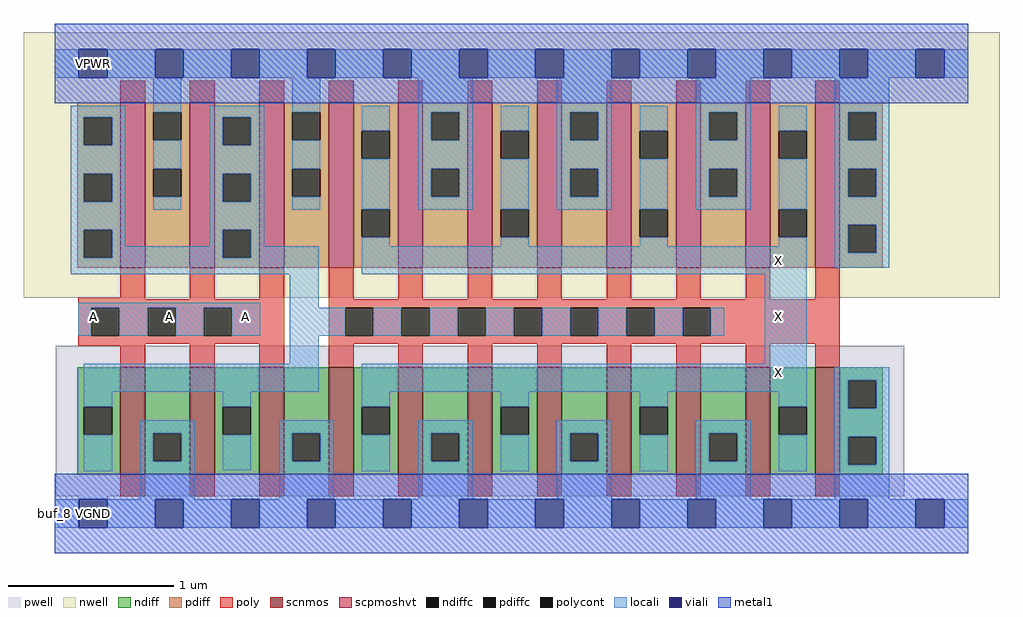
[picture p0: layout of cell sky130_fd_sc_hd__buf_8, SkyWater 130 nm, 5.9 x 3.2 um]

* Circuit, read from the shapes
.subckt sky130_fd_sc_hd__buf_8 VNB VPB VGND VPWR A X
XM1 VGND A n1 VNB sky130_fd_pr__nfet_01v8 w=0.65 l=0.15 m=3
XM2 X n1 VGND VNB sky130_fd_pr__nfet_01v8 w=0.65 l=0.15 m=8
XM3 VPWR A n1 VPB sky130_fd_pr__pfet_01v8_hvt w=1 l=0.15 m=3
XM4 X n1 VPWR VPB sky130_fd_pr__pfet_01v8_hvt w=1 l=0.15 m=8
.ends

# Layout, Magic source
magic
tech sky130A
magscale 1 2
<< nwell >>
rect 0 309 1180 630
<< pwell >>
rect 39 69 1065 251
rect 68 31 102 69
<< scnmos >>
rect 117 95 147 225
rect 201 95 231 225
rect 285 95 315 225
rect 369 95 399 225
rect 453 95 483 225
rect 537 95 567 225
rect 621 95 651 225
rect 705 95 735 225
rect 789 95 819 225
rect 873 95 903 225
rect 957 95 987 225
<< scpmoshvt >>
rect 117 345 147 545
rect 201 345 231 545
rect 285 345 315 545
rect 369 345 399 545
rect 453 345 483 545
rect 537 345 567 545
rect 621 345 651 545
rect 705 345 735 545
rect 789 345 819 545
rect 873 345 903 545
rect 957 345 987 545
<< ndiff >>
rect 65 177 117 225
rect 65 143 73 177
rect 107 143 117 177
rect 65 95 117 143
rect 147 145 201 225
rect 147 111 157 145
rect 191 111 201 145
rect 147 95 201 111
rect 231 177 285 225
rect 231 143 241 177
rect 275 143 285 177
rect 231 95 285 143
rect 315 145 369 225
rect 315 111 325 145
rect 359 111 369 145
rect 315 95 369 111
rect 399 177 453 225
rect 399 143 409 177
rect 443 143 453 177
rect 399 95 453 143
rect 483 145 537 225
rect 483 111 493 145
rect 527 111 537 145
rect 483 95 537 111
rect 567 177 621 225
rect 567 143 577 177
rect 611 143 621 177
rect 567 95 621 143
rect 651 145 705 225
rect 651 111 661 145
rect 695 111 705 145
rect 651 95 705 111
rect 735 177 789 225
rect 735 143 745 177
rect 779 143 789 177
rect 735 95 789 143
rect 819 145 873 225
rect 819 111 829 145
rect 863 111 873 145
rect 819 95 873 111
rect 903 177 957 225
rect 903 143 913 177
rect 947 143 957 177
rect 903 95 957 143
rect 987 209 1039 225
rect 987 175 997 209
rect 1031 175 1039 209
rect 987 141 1039 175
rect 987 107 997 141
rect 1031 107 1039 141
rect 987 95 1039 107
<< pdiff >>
rect 65 527 117 545
rect 65 493 73 527
rect 107 493 117 527
rect 65 459 117 493
rect 65 425 73 459
rect 107 425 117 459
rect 65 391 117 425
rect 65 357 73 391
rect 107 357 117 391
rect 65 345 117 357
rect 147 533 201 545
rect 147 499 157 533
rect 191 499 201 533
rect 147 465 201 499
rect 147 431 157 465
rect 191 431 201 465
rect 147 345 201 431
rect 231 527 285 545
rect 231 493 241 527
rect 275 493 285 527
rect 231 459 285 493
rect 231 425 241 459
rect 275 425 285 459
rect 231 391 285 425
rect 231 357 241 391
rect 275 357 285 391
rect 231 345 285 357
rect 315 533 369 545
rect 315 499 325 533
rect 359 499 369 533
rect 315 465 369 499
rect 315 431 325 465
rect 359 431 369 465
rect 315 345 369 431
rect 399 511 453 545
rect 399 477 409 511
rect 443 477 453 511
rect 399 416 453 477
rect 399 382 409 416
rect 443 382 453 416
rect 399 345 453 382
rect 483 533 537 545
rect 483 499 493 533
rect 527 499 537 533
rect 483 465 537 499
rect 483 431 493 465
rect 527 431 537 465
rect 483 345 537 431
rect 567 511 621 545
rect 567 477 577 511
rect 611 477 621 511
rect 567 416 621 477
rect 567 382 577 416
rect 611 382 621 416
rect 567 345 621 382
rect 651 533 705 545
rect 651 499 661 533
rect 695 499 705 533
rect 651 465 705 499
rect 651 431 661 465
rect 695 431 705 465
rect 651 345 705 431
rect 735 511 789 545
rect 735 477 745 511
rect 779 477 789 511
rect 735 416 789 477
rect 735 382 745 416
rect 779 382 789 416
rect 735 345 789 382
rect 819 533 873 545
rect 819 499 829 533
rect 863 499 873 533
rect 819 465 873 499
rect 819 431 829 465
rect 863 431 873 465
rect 819 345 873 431
rect 903 511 957 545
rect 903 477 913 511
rect 947 477 957 511
rect 903 416 957 477
rect 903 382 913 416
rect 947 382 957 416
rect 903 345 957 382
rect 987 533 1039 545
rect 987 499 997 533
rect 1031 499 1039 533
rect 987 465 1039 499
rect 987 431 997 465
rect 1031 431 1039 465
rect 987 397 1039 431
rect 987 363 997 397
rect 1031 363 1039 397
rect 987 345 1039 363
<< ndiffc >>
rect 73 143 107 177
rect 157 111 191 145
rect 241 143 275 177
rect 325 111 359 145
rect 409 143 443 177
rect 493 111 527 145
rect 577 143 611 177
rect 661 111 695 145
rect 745 143 779 177
rect 829 111 863 145
rect 913 143 947 177
rect 997 175 1031 209
rect 997 107 1031 141
<< pdiffc >>
rect 73 493 107 527
rect 73 425 107 459
rect 73 357 107 391
rect 157 499 191 533
rect 157 431 191 465
rect 241 493 275 527
rect 241 425 275 459
rect 241 357 275 391
rect 325 499 359 533
rect 325 431 359 465
rect 409 477 443 511
rect 409 382 443 416
rect 493 499 527 533
rect 493 431 527 465
rect 577 477 611 511
rect 577 382 611 416
rect 661 499 695 533
rect 661 431 695 465
rect 745 477 779 511
rect 745 382 779 416
rect 829 499 863 533
rect 829 431 863 465
rect 913 477 947 511
rect 913 382 947 416
rect 997 499 1031 533
rect 997 431 1031 465
rect 997 363 1031 397
<< poly >>
rect 117 545 147 571
rect 201 545 231 571
rect 285 545 315 571
rect 369 545 399 571
rect 453 545 483 571
rect 537 545 567 571
rect 621 545 651 571
rect 705 545 735 571
rect 789 545 819 571
rect 873 545 903 571
rect 957 545 987 571
rect 117 309 147 345
rect 66 307 147 309
rect 201 307 231 345
rect 285 307 315 345
rect 66 297 315 307
rect 66 263 82 297
rect 116 263 150 297
rect 184 263 218 297
rect 252 263 315 297
rect 66 253 315 263
rect 66 251 147 253
rect 117 225 147 251
rect 201 225 231 253
rect 285 225 315 253
rect 369 307 399 345
rect 453 307 483 345
rect 537 307 567 345
rect 621 307 651 345
rect 705 307 735 345
rect 789 307 819 345
rect 873 307 903 345
rect 957 307 987 345
rect 369 297 987 307
rect 369 263 389 297
rect 423 263 457 297
rect 491 263 525 297
rect 559 263 593 297
rect 627 263 661 297
rect 695 263 729 297
rect 763 263 797 297
rect 831 263 987 297
rect 369 253 987 263
rect 369 225 399 253
rect 453 225 483 253
rect 537 225 567 253
rect 621 225 651 253
rect 705 225 735 253
rect 789 225 819 253
rect 873 225 903 253
rect 957 225 987 253
rect 117 69 147 95
rect 201 69 231 95
rect 285 69 315 95
rect 369 69 399 95
rect 453 69 483 95
rect 537 69 567 95
rect 621 69 651 95
rect 705 69 735 95
rect 789 69 819 95
rect 873 69 903 95
rect 957 69 987 95
<< polycont >>
rect 82 263 116 297
rect 150 263 184 297
rect 218 263 252 297
rect 389 263 423 297
rect 457 263 491 297
rect 525 263 559 297
rect 593 263 627 297
rect 661 263 695 297
rect 729 263 763 297
rect 797 263 831 297
<< locali >>
rect 38 575 67 609
rect 101 575 159 609
rect 193 575 251 609
rect 285 575 343 609
rect 377 575 435 609
rect 469 575 527 609
rect 561 575 619 609
rect 653 575 711 609
rect 745 575 803 609
rect 837 575 895 609
rect 929 575 987 609
rect 1021 575 1079 609
rect 1113 575 1142 609
rect 57 527 123 541
rect 57 493 73 527
rect 107 493 123 527
rect 57 459 123 493
rect 57 425 73 459
rect 107 425 123 459
rect 57 391 123 425
rect 157 533 191 575
rect 157 465 191 499
rect 157 415 191 431
rect 225 527 291 541
rect 225 493 241 527
rect 275 493 291 527
rect 225 459 291 493
rect 225 425 241 459
rect 275 425 291 459
rect 57 357 73 391
rect 107 371 123 391
rect 225 391 291 425
rect 325 533 359 575
rect 325 465 359 499
rect 325 415 359 431
rect 409 511 443 541
rect 409 416 443 477
rect 225 371 241 391
rect 107 357 241 371
rect 275 371 291 391
rect 477 533 543 575
rect 477 499 493 533
rect 527 499 543 533
rect 477 465 543 499
rect 477 431 493 465
rect 527 431 543 465
rect 477 415 543 431
rect 577 511 611 541
rect 577 416 611 477
rect 409 371 443 382
rect 645 533 711 575
rect 645 499 661 533
rect 695 499 711 533
rect 645 465 711 499
rect 645 431 661 465
rect 695 431 711 465
rect 645 415 711 431
rect 745 511 779 541
rect 745 416 779 477
rect 577 371 611 382
rect 813 533 879 575
rect 813 499 829 533
rect 863 499 879 533
rect 813 465 879 499
rect 813 431 829 465
rect 863 431 879 465
rect 813 415 879 431
rect 913 511 947 541
rect 913 416 947 477
rect 745 371 779 382
rect 913 371 947 382
rect 275 357 357 371
rect 57 337 357 357
rect 409 337 947 371
rect 981 533 1047 575
rect 981 499 997 533
rect 1031 499 1047 533
rect 981 465 1047 499
rect 981 431 997 465
rect 1031 431 1047 465
rect 981 397 1047 431
rect 981 363 997 397
rect 1031 363 1047 397
rect 981 345 1047 363
rect 66 297 286 303
rect 66 263 82 297
rect 116 263 150 297
rect 184 263 218 297
rect 252 263 286 297
rect 322 297 357 337
rect 322 263 389 297
rect 423 263 457 297
rect 491 263 525 297
rect 559 263 593 297
rect 627 263 661 297
rect 695 263 729 297
rect 763 263 797 297
rect 831 263 847 297
rect 322 229 357 263
rect 896 229 947 337
rect 73 195 357 229
rect 409 195 947 229
rect 73 177 107 195
rect 241 177 275 195
rect 73 99 107 143
rect 141 145 207 161
rect 141 111 157 145
rect 191 111 207 145
rect 141 65 207 111
rect 409 177 443 195
rect 241 100 275 143
rect 309 145 375 161
rect 309 111 325 145
rect 359 111 375 145
rect 309 65 375 111
rect 577 177 611 195
rect 409 99 443 143
rect 477 145 543 161
rect 477 111 493 145
rect 527 111 543 145
rect 477 65 543 111
rect 745 177 779 195
rect 577 99 611 143
rect 645 145 711 161
rect 645 111 661 145
rect 695 111 711 145
rect 645 65 711 111
rect 913 177 947 195
rect 745 99 779 143
rect 813 145 879 161
rect 813 111 829 145
rect 863 111 879 145
rect 813 65 879 111
rect 913 99 947 143
rect 981 209 1047 225
rect 981 175 997 209
rect 1031 175 1047 209
rect 981 141 1047 175
rect 981 107 997 141
rect 1031 107 1047 141
rect 981 65 1047 107
rect 38 31 67 65
rect 101 31 159 65
rect 193 31 251 65
rect 285 31 343 65
rect 377 31 435 65
rect 469 31 527 65
rect 561 31 619 65
rect 653 31 711 65
rect 745 31 803 65
rect 837 31 895 65
rect 929 31 987 65
rect 1021 31 1079 65
rect 1113 31 1142 65
<< viali >>
rect 67 575 101 609
rect 159 575 193 609
rect 251 575 285 609
rect 343 575 377 609
rect 435 575 469 609
rect 527 575 561 609
rect 619 575 653 609
rect 711 575 745 609
rect 803 575 837 609
rect 895 575 929 609
rect 987 575 1021 609
rect 1079 575 1113 609
rect 67 31 101 65
rect 159 31 193 65
rect 251 31 285 65
rect 343 31 377 65
rect 435 31 469 65
rect 527 31 561 65
rect 619 31 653 65
rect 711 31 745 65
rect 803 31 837 65
rect 895 31 929 65
rect 987 31 1021 65
rect 1079 31 1113 65
<< metal1 >>
rect 38 609 1142 640
rect 38 575 67 609
rect 101 575 159 609
rect 193 575 251 609
rect 285 575 343 609
rect 377 575 435 609
rect 469 575 527 609
rect 561 575 619 609
rect 653 575 711 609
rect 745 575 803 609
rect 837 575 895 609
rect 929 575 987 609
rect 1021 575 1079 609
rect 1113 575 1142 609
rect 38 544 1142 575
rect 38 65 1142 96
rect 38 31 67 65
rect 101 31 159 65
rect 193 31 251 65
rect 285 31 343 65
rect 377 31 435 65
rect 469 31 527 65
rect 561 31 619 65
rect 653 31 711 65
rect 745 31 803 65
rect 837 31 895 65
rect 929 31 987 65
rect 1021 31 1079 65
rect 1113 31 1142 65
rect 38 0 1142 31
<< labels >>
flabel locali s 252 269 286 303 0 FreeSans 200 0 0 0 A
port 6 nsew
flabel locali s 896 201 930 235 0 FreeSans 200 0 0 0 X
port 7 nsew
flabel locali s 896 269 930 303 0 FreeSans 200 0 0 0 X
port 7 nsew
flabel locali s 160 269 194 303 0 FreeSans 200 0 0 0 A
port 6 nsew
flabel locali s 68 31 102 65 0 FreeSans 200 0 0 0 VGND
port 4 nsew
flabel locali s 68 575 102 609 0 FreeSans 200 0 0 0 VPWR
port 5 nsew
flabel locali s 896 337 930 371 0 FreeSans 200 0 0 0 X
port 7 nsew
flabel locali s 68 269 102 303 0 FreeSans 200 0 0 0 A
port 6 nsew
flabel pwell s 68 31 102 65 0 FreeSans 200 0 0 0 VNB
port 2 nsew
flabel nwell s 68 575 102 609 0 FreeSans 200 0 0 0 VPB
port 3 nsew
flabel metal1 s 68 31 102 65 0 FreeSans 200 0 0 0 VGND
port 4 nsew
flabel metal1 s 68 575 102 609 0 FreeSans 200 0 0 0 VPWR
port 5 nsew
rlabel comment s 38 48 38 48 4 buf_8
<< properties >>
string FIXED_BBOX 38 48 1142 592
string path 0.190 0.240 5.710 0.240 
<< end >>
